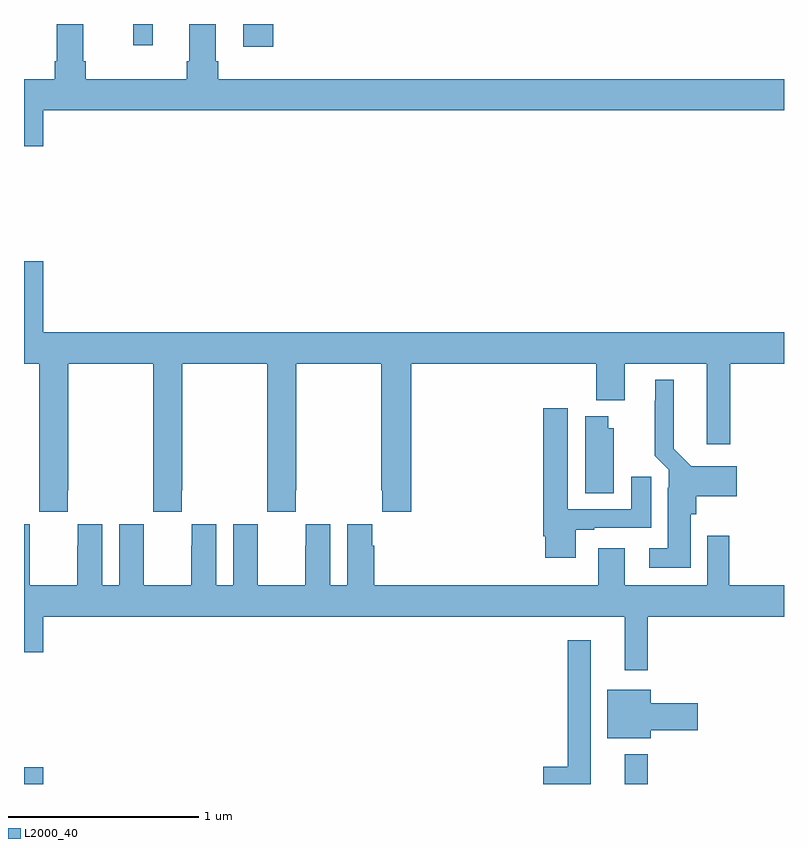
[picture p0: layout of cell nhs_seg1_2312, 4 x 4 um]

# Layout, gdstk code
import gdstk
lib = gdstk.Library(unit=1e-6, precision=1e-09)
def R(c, l, rs):  # rectangles x0, y0, x1, y1
    for r in rs: c.add(gdstk.rectangle(r[:2], r[2:], *l))
def P(c, l, *ps):  # polygons
    for p in ps: c.add(gdstk.Polygon(p, *l))
L2000_40 = (2000, 40)

nhs_seg1_2312 = lib.new_cell('nhs_seg1_2312')
R(nhs_seg1_2312, L2000_40, [(237,536.199,237.1,536.287), (240.161,536.199,240.283,536.356), (238.154,540.078,238.313,540.199), (237.574,540.087,237.677,540.199)])
P(nhs_seg1_2312, L2000_40, [(237.1,539.744),(241,539.744),(241,539.908),(238.022,539.908),(238.022,540.004),(238.009,540.004),(238.009,540.199),(237.869,540.199),(237.869,540.004),(237.857,540.004),(237.857,539.908),(237.326,539.908),(237.326,540.004),(237.313,540.004),(237.313,540.199),(237.173,540.199),(237.173,540.004),(237.161,540.004),(237.161,539.908),(237,539.908),(237,539.556),(237.1,539.556)],
  [(237.231,537.745),(237.234,537.745),(237.234,538.412),(237.679,538.412),(237.679,537.745),(237.681,537.745),(237.681,537.633),(237.831,537.633),(237.831,537.745),(237.834,537.745),(237.834,538.412),(238.279,538.412),(238.279,537.745),(238.281,537.745),(238.281,537.633),(238.431,537.633),(238.431,537.745),(238.434,537.745),(238.434,538.412),(238.879,538.412),(238.879,537.745),(238.885,537.745),(238.885,537.633),(239.039,537.633),(239.039,538.412),(240.011,538.412),(240.011,538.22),(240.163,538.22),(240.163,538.412),(240.593,538.412),(240.593,537.987),(240.716,537.987),(240.716,538.412),(241,538.412),(241,538.576),(237.1,538.576),(237.1,538.951),(237,538.951),(237,538.412),(237.079,538.412),(237.079,537.745),(237.081,537.745),(237.081,537.633),(237.231,537.633)],
  [(240.508,537.618),(240.539,537.618),(240.539,537.713),(240.751,537.713),(240.751,537.871),(240.513,537.871),(240.421,537.964),(240.421,538.327),(240.323,538.327),(240.323,538.217),(240.319,538.217),(240.319,537.926),(240.393,537.852),(240.393,537.758),(240.389,537.758),(240.389,537.439),(240.291,537.439),(240.291,537.338),(240.508,537.338)],
  [(239.905,537.537),(240.001,537.537),(240.001,537.549),(240.301,537.549),(240.301,537.817),(240.197,537.817),(240.197,537.645),(239.863,537.645),(239.863,538.177),(239.732,538.177),(239.732,537.502),(239.744,537.502),(239.744,537.39),(239.905,537.39)],
  [(240.103,538.071),(240.076,538.071),(240.076,538.135),(239.954,538.135),(239.954,537.73),(240.103,537.73)],
  [(240.283,537.08),(241,537.08),(241,537.244),(240.713,537.244),(240.713,537.505),(240.597,537.505),(240.597,537.244),(240.163,537.244),(240.163,537.439),(240.023,537.439),(240.023,537.244),(238.844,537.244),(238.844,537.452),(238.834,537.452),(238.834,537.565),(238.7,537.565),(238.7,537.244),(238.612,537.244),(238.612,537.565),(238.482,537.565),(238.482,537.452),(238.481,537.452),(238.481,537.244),(238.231,537.244),(238.231,537.452),(238.23,537.452),(238.23,537.565),(238.1,537.565),(238.1,537.244),(238.012,537.244),(238.012,537.565),(237.882,537.565),(237.882,537.452),(237.881,537.452),(237.881,537.244),(237.631,537.244),(237.631,537.452),(237.63,537.452),(237.63,537.565),(237.5,537.565),(237.5,537.244),(237.412,537.244),(237.412,537.565),(237.282,537.565),(237.282,537.452),(237.281,537.452),(237.281,537.244),(237.031,537.244),(237.031,537.452),(237.03,537.452),(237.03,537.565),(237,537.565),(237,536.892),(237.1,536.892),(237.1,537.08),(240.161,537.08),(240.161,536.799),(240.283,536.799)],
  [(239.983,536.956),(239.862,536.956),(239.862,536.29),(239.732,536.29),(239.732,536.199),(239.983,536.199)],
  [(240.298,536.483),(240.547,536.483),(240.547,536.625),(240.298,536.625),(240.298,536.695),(240.071,536.695),(240.071,536.441),(240.298,536.441)])

lib.write_gds('nhs_seg1_2312.gds')
